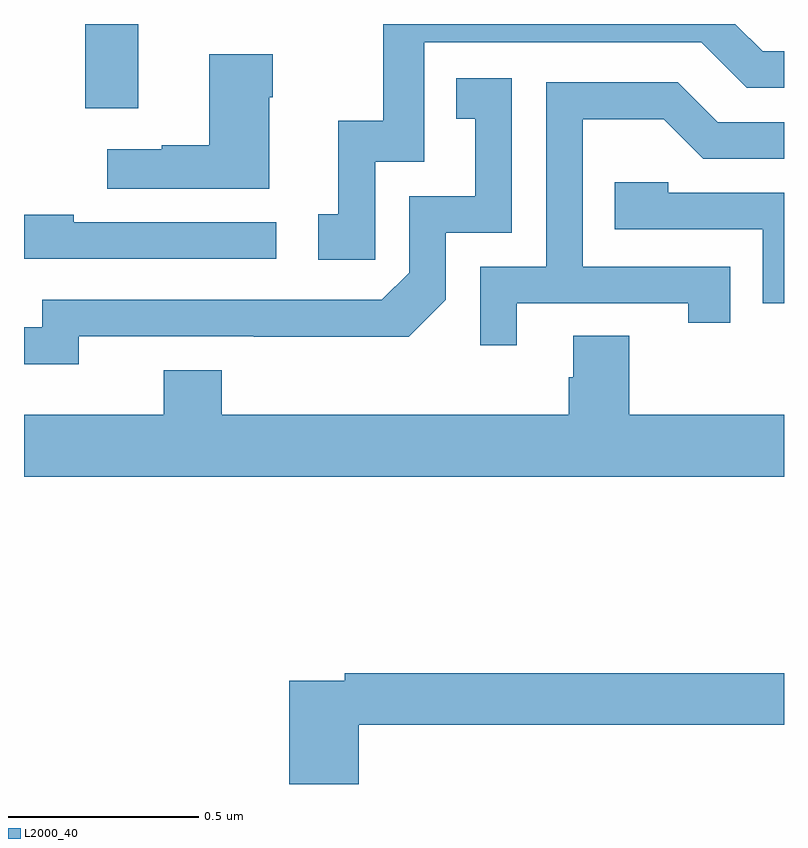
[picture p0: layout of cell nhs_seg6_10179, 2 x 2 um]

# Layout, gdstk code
import gdstk
lib = gdstk.Library(unit=1e-6, precision=1e-09)
def R(c, l, rs):  # rectangles x0, y0, x1, y1
    for r in rs: c.add(gdstk.rectangle(r[:2], r[2:], *l))
def P(c, l, *ps):  # polygons
    for p in ps: c.add(gdstk.Polygon(p, *l))
L2000_40 = (2000, 40)

nhs_seg6_10179 = lib.new_cell('nhs_seg6_10179')
R(nhs_seg6_10179, L2000_40, [(243.161,976.278,243.301,976.5)])
P(nhs_seg6_10179, L2000_40, [(243.924,976.137),(244.053,976.137),(244.053,976.452),(244.782,976.452),(244.902,976.332),(245,976.332),(245,976.428),(244.944,976.428),(244.872,976.5),(243.945,976.5),(243.945,976.246),(243.827,976.246),(243.827,975.999),(243.774,975.999),(243.774,975.879),(243.924,975.879)],
  [(243.646,976.307),(243.654,976.307),(243.654,976.42),(243.488,976.42),(243.488,976.181),(243.362,976.181),(243.362,976.171),(243.219,976.171),(243.219,976.067),(243.646,976.067)],
  [(243.144,975.678),(243.604,975.678),(243.604,975.677),(244.012,975.677),(244.11,975.774),(244.11,975.951),(244.284,975.951),(244.284,976.357),(244.138,976.357),(244.138,976.251),(244.187,976.251),(244.187,976.047),(244.014,976.047),(244.014,975.846),(243.942,975.774),(243.048,975.774),(243.048,975.702),(243,975.702),(243,975.605),(243.144,975.605)],
  [(244.297,975.765),(244.748,975.765),(244.748,975.714),(244.859,975.714),(244.859,975.861),(244.47,975.861),(244.47,976.25),(244.684,976.25),(244.788,976.146),(245,976.146),(245,976.242),(244.825,976.242),(244.72,976.347),(244.374,976.347),(244.374,975.861),(244.2,975.861),(244.2,975.654),(244.297,975.654)],
  [(245,976.056),(244.695,976.056),(244.695,976.083),(244.555,976.083),(244.555,975.96),(244.944,975.96),(244.944,975.765),(245,975.765)],
  [(243.664,975.978),(243.131,975.978),(243.131,975.998),(243,975.998),(243,975.882),(243.664,975.882)],
  [(245,975.472),(244.593,975.472),(244.593,975.68),(244.445,975.68),(244.445,975.57),(244.433,975.57),(244.433,975.472),(243.521,975.472),(243.521,975.589),(243.368,975.589),(243.368,975.472),(243,975.472),(243,975.308),(245,975.308)],
  [(243.881,974.656),(245,974.656),(245,974.792),(243.844,974.792),(243.844,974.772),(243.698,974.772),(243.698,974.5),(243.881,974.5)])

lib.write_gds('nhs_seg6_10179.gds')
